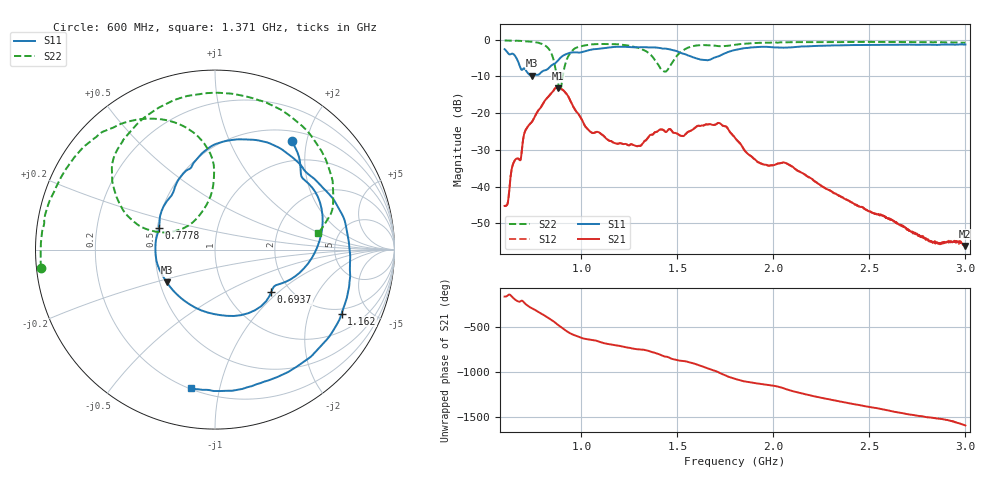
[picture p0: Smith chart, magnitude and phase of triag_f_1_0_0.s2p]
#  HZ  S  RI  R  50.00
! Rohde & Schwarz ZVB8 2Ports - Version 2.81 - 1145.1010k08 SN: 100113
! Date: 2016-05-03 01:37:18
! Measurements: S11 S21 S12 S22
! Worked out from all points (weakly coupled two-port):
!   1000 points, 600 MHz to 3 GHz, reference 50 ohm
!   highest |S21| = -13.13 dB at 878.7 MHz (marker M1); lowest = -56.1 dB at 2.998 GHz (marker M2)
!   lowest |S11| = -9.8 dB at 741.7 MHz (marker M3), VSWR 1.96, Z = 27.2 - j11.1 ohm
!   |S11| at or under -10 dB: nowhere
!   |S22| runs from -14.2 to -0.2 dB; largest |S21 - S12| = 0.0015
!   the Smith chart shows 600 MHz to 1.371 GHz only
!   S11 on the Smith chart (normalised r, x): 600 MHz: 0.65, +1.74; 693.7 MHz: 1.61, -0.90; 777.8 MHz: 0.51, +0.14; 1.162 GHz: 1.75, -3.33; 1.371 GHz: 0.20, -0.82
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6e8  0.4263 0.6067  -0.00536 -0.00115  -0.00541 -0.00112  -0.969 -0.1019
6.528529e8  0.5974 0.1199  -0.0217 0.007  -0.0216 0.00693  -0.9532 0.1371
6.936937e8  0.3136 -0.2361  -0.0311 0.0231  -0.0313 0.0229  -0.9001 0.3145
7.417417e8  -0.2691 -0.1819  0.0339 0.0681  0.0339 0.0677  -0.776 0.5228
7.777778e8  -0.312 0.1213  0.1038 0.0374  0.104 0.0384  -0.6245 0.6571
8.33033e8  -0.2197 0.3562  0.1104 -0.1341  0.1103 -0.1339  -0.2044 0.701
8.786787e8  -0.093 0.5135  -0.1124 -0.1899  -0.1119 -0.1896  -0.05 0.2444
9.363363e8  0.262 0.6039  -0.1423 0.072  -0.1425 0.0713  -0.5486 0.2937
1.001201e9  0.5404 0.4045  -0.00893 0.0824  -0.00944 0.0822  -0.4568 0.6742
1.162162e9  0.7054 -0.3569  0.0379 0.0143  0.0377 0.0142  0.2295 0.8367
1.371171e9  -0.1345 -0.7729  0.0248 -0.0448  0.025 -0.0446  0.5727 0.0939
1.4e9  -0.2613 -0.7285  0.0101 -0.0568  0.0103 -0.0566  0.4543 0.0513
1.510511e9  -0.5459 -0.3917  -0.0449 -0.0226  -0.0447 -0.0229  0.5864 0.2924
1.611411e9  -0.519 -0.1674  -0.0611 0.0287  -0.0612 0.0284  0.8277 -0.1222
1.801201e9  -0.7134 0.1213  0.0456 0.00375  0.0455 0.00405  0.5186 -0.6731
1.981381e9  -0.3795 0.6952  0.0087 -0.0173  0.00898 -0.0172  -0.0144 -0.9092
2.2e9  0.3754 0.7241  -0.0128 0.000157  -0.0127 8.47e-05  -0.604 -0.701
2.406607e9  0.8423 0.039  -0.000182 0.00611  -0.000242 0.00614  -0.889 -0.2665
2.601201e9  0.5102 -0.6814  0.00357 0.00105  0.00347 0.0011  -0.9108 0.1774
2.786186e9  -0.1772 -0.8346  0.00123 -0.00156  0.00123 -0.00156  -0.7301 0.5609
2.997598e9  -0.7588 -0.4015  -0.00125 -0.00094  -0.00134 -0.000889  -0.3408 0.8409
3e9  -0.7618 -0.3943  -0.0014 -0.000887  -0.00131 -0.000835  -0.3342 0.8433
